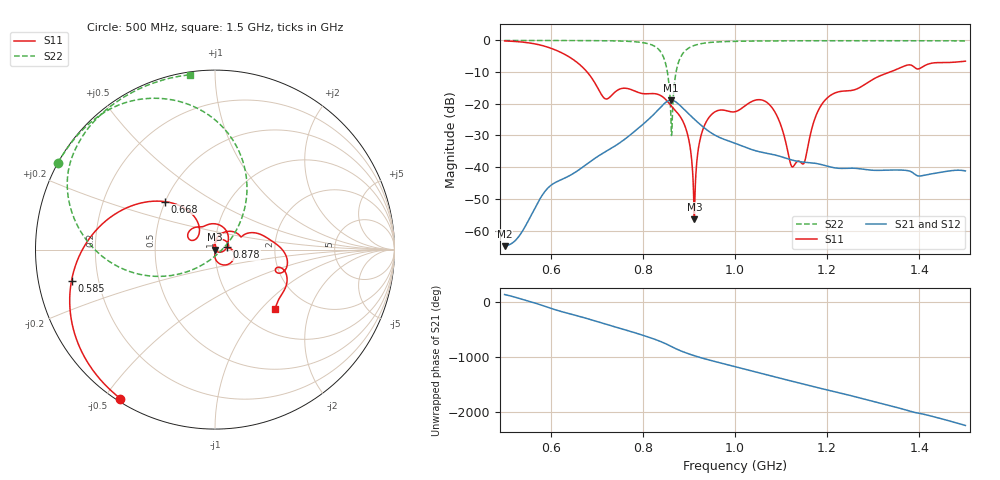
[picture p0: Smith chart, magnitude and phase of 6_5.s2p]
! TOUCHSTONE file generated by CST MICROWAVE STUDIO
! Date and time: Fri Oct  2 19:08:46 2020
! Project name: Scenario_1_Free_Space_out_of_line.cst
! Parameters = {Lambda=346.42; Step_1=17.321; dy1=260.935; dx1=866; L_HA=400; MT=2.54; Rad_Dielectric=30; Rad_Lower=7.3; Rad_Upper=30; a_HA=580; a_WG=246; b_HA=500; b_WG=121; c_HA=0; c_WG=187; d_feed=85; h_feed=15; h_lower=18; h_upper=40}
! Header version: 2018
! Port assignment regex: !\s*Touchstone port\s*([0-9]+)\s*=\s*(CST MWS port|CST DS port)\s*([0-9]+|Zmin|Zmax)\s*\(\"(.*)\"\)(\s*mode\s*([0-9]+))?.*
! Touchstone port assignment:
! Touchstone port 1 = CST MWS port 1 ("")
! Touchstone port 2 = CST MWS port 2 ("")
# GHz S DB R 50
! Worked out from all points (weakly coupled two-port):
!   1003 points, 500 MHz to 1.5 GHz, reference 50 ohm
!   highest |S21| = -18.86 dB at 861 MHz (marker M1); lowest = -64.9 dB at 500 MHz (marker M2)
!   lowest |S11| = -56.5 dB at 912 MHz (marker M3), VSWR 1.00, Z = 49.9 - j0.0168 ohm
!   |S11| at or under -10 dB: 679.3 MHz to 1.336 GHz (656.5 MHz wide, 65.2 % of centre)
!   |S22| runs from -30.0 to 0.0 dB; largest |S21 - S12| = 0.00017
!   S11 on the Smith chart (normalised r, x): 500 MHz: 0.01, -0.55; 585 MHz: 0.10, -0.11; 668 MHz: 0.50, +0.31; 878 MHz: 1.14, +0.03; 1.5 GHz: 1.40, -1.20
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0.5  -0.15 -122.4  -64.93 130.4  -64.93 130.4  -0.01 151.2
0.585  -1.75 -167.8  -48.14 -75.1  -48.15 -75.1  -0.02 145.3
0.667  -8.14 136.8  -40.25 84.5  -40.25 84.5  -0.04 138.4
0.668  -8.27 136.1  -40.14 82.1  -40.15 82.2  -0.04 138.3
0.719  -18.44 141.9  -35.10 -44.3  -35.10 -44.3  -0.10 132.6
0.791  -16.46 122.6  -27.57 138.0  -27.57 138.1  -0.53 117.6
0.834  -17.08 81.0  -21.79 15.8  -21.79 15.8  -2.76 90.4
0.85  -18.70 53.7  -19.52 -41.1  -19.52 -41.1  -7.65 64.7
0.861  -20.57 37.0  -18.86 -86.2  -18.86 -86.2  -24.74 17.1
0.878  -23.40 12.0  -20.14 -153.5  -20.14 -153.5  -6.65 -163.6
0.898  -30.21 -28.5  -22.96 142.0  -22.96 142.0  -2.55 173.2
0.912  -56.49 -173.5  -24.89 103.0  -24.89 103.0  -1.57 164.2
0.924  -31.40 103.0  -26.46 72.3  -26.46 72.3  -1.09 158.7
0.939  -25.31 73.4  -28.23 36.9  -28.23 36.9  -0.74 153.4
1  -22.50 6.7  -32.45 -95.6  -32.45 -95.6  -0.29 140.9
1.073  -20.01 -59.1  -35.72 110.3  -35.72 110.3  -0.15 132.5
1.125  -39.92 -36.5  -37.80 0.0  -37.80 0.0  -0.11 127.9
1.15  -38.66 48.2  -38.42 -49.9  -38.42 -49.9  -0.10 125.8
1.167  -27.67 86.9  -38.63 -85.5  -38.63 -85.5  -0.10 124.5
1.206  -17.46 49.6  -39.90 -168.1  -39.90 -168.1  -0.09 121.4
1.334  -10.10 9.9  -40.92 -73.9  -40.92 -73.9  -0.09 111.7
1.5  -6.55 -45.1  -41.17 -78.0  -41.17 -78.1  -0.14 98.2
